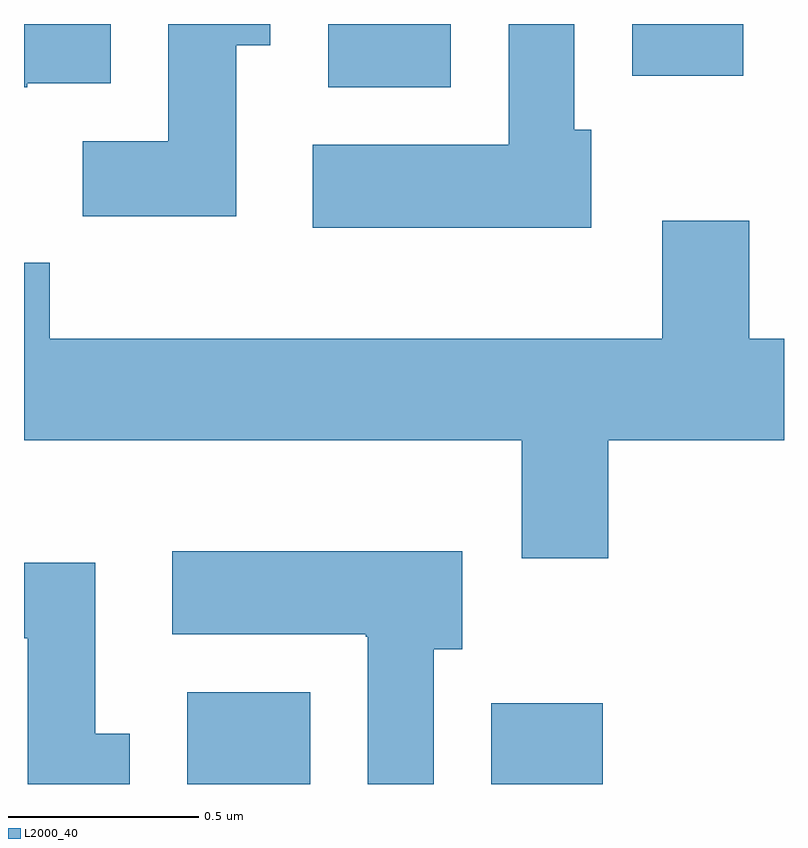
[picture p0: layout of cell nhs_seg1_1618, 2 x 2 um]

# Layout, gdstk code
import gdstk
lib = gdstk.Library(unit=1e-6, precision=1e-09)
def R(c, l, rs):  # rectangles x0, y0, x1, y1
    for r in rs: c.add(gdstk.rectangle(r[:2], r[2:], *l))
def P(c, l, *ps):  # polygons
    for p in ps: c.add(gdstk.Polygon(p, *l))
L2000_40 = (2000, 40)

nhs_seg1_1618 = lib.new_cell('nhs_seg1_1618')
R(nhs_seg1_1618, L2000_40, [(197.041,969.712,197.364,969.954), (197.841,969.712,198.134,969.924), (197.411,971.546,197.734,971.712), (198.211,971.576,198.504,971.712)])
P(nhs_seg1_1618, L2000_40, [(197.169,971.656),(197.259,971.656),(197.259,971.712),(196.991,971.712),(196.991,971.404),(196.766,971.404),(196.766,971.206),(197.169,971.206)],
  [(196.62,971.556),(196.839,971.556),(196.839,971.712),(196.611,971.712),(196.611,971.546),(196.62,971.546)],
  [(198.104,971.434),(198.059,971.434),(198.059,971.712),(197.886,971.712),(197.886,971.394),(197.371,971.394),(197.371,971.176),(198.104,971.176)],
  [(198.149,970.616),(198.611,970.616),(198.611,970.884),(198.519,970.884),(198.519,971.194),(198.291,971.194),(198.291,970.884),(196.679,970.884),(196.679,971.084),(196.611,971.084),(196.611,970.616),(197.921,970.616),(197.921,970.306),(198.149,970.306)],
  [(197.689,970.066),(197.764,970.066),(197.764,970.324),(197.001,970.324),(197.001,970.106),(197.51,970.106),(197.51,970.1),(197.516,970.1),(197.516,969.712),(197.689,969.712)],
  [(196.889,969.844),(196.799,969.844),(196.799,970.294),(196.611,970.294),(196.611,970.096),(196.621,970.096),(196.621,969.712),(196.889,969.712)])

lib.write_gds('nhs_seg1_1618.gds')
